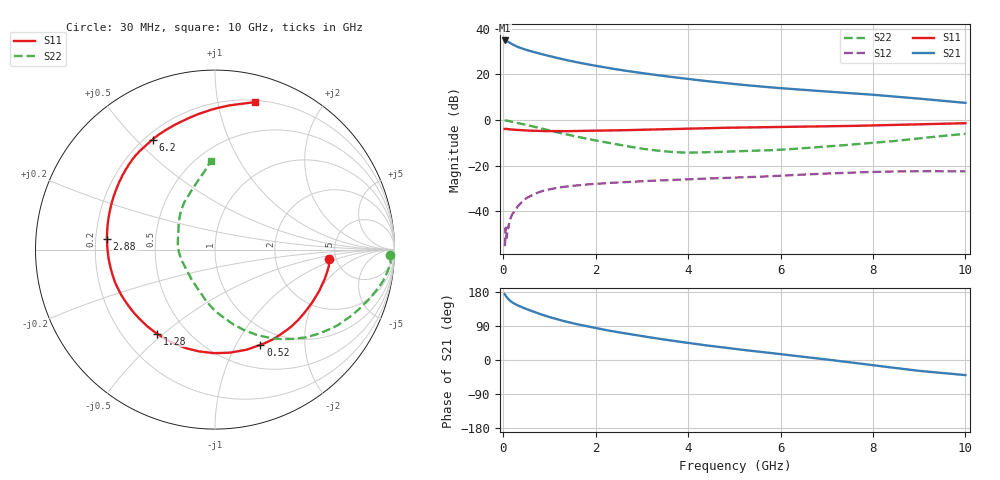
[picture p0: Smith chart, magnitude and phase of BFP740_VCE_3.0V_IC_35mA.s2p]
! Infineon Technologies  Discrete & RF Semiconductors
! BFP740
! VCE =  3.0 V,  IC =  35 mA
! Common Emitter S-Parameters:  Jan 2016
# GHz  S  MA  R  50
!  f  S11  S21  S12  S22
! GHz  MAG  ANG  MAG  ANG  MAG  ANG  MAG  ANG
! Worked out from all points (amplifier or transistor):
!   229 points, 30 MHz to 10 GHz, reference 50 ohm
!   highest |S21| = 34.9 dB at 30 MHz (marker M1)
!   |S21| within 3 dB of that: start of sweep to 335.6 MHz
!   unconditionally stable (mu >= 1): 5.71 GHz to 7.98 GHz; 8.03 GHz to 8.289 GHz; 9.138 GHz to 9.631 GHz
!   at 280 MHz: K = 0.30, MSG = 35.7 dB, |S12| = -38.9 dB
!   at 1.78 GHz: K = 0.53, MSG = 26.5 dB, |S12| = -28.4 dB
!   at 10 GHz: K = 0.99, MSG = 15.0 dB, |S12| = -22.5 dB
!   S11 on the Smith chart (normalised r, x): 30 MHz: 4.37, -0.75; 520 MHz: 0.78, -1.26; 1.28 GHz: 0.34, -0.48; 2.88 GHz: 0.25, +0.05; 6.2 GHz: 0.23, +0.56; 10 GHz: 0.22, +1.28
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0.03  0.6367 -4.6  55.77 174.0  0.0017 76.3  0.976 -1.7
0.06  0.6392 -9.3  55.2 168.4  0.0038 87.5  0.9767 -5.2
0.11  0.6294 -16.8  51.84 160.8  0.0042 91.1  0.9561 -10.1
0.15  0.6243 -22.0  48.98 156.2  0.0066 83.8  0.9338 -13.3
0.185  0.618 -26.5  46.72 153.0  0.0081 79.0  0.9158 -15.8
0.26  0.6097 -35.7  42.7 147.4  0.0104 75.1  0.8807 -20.7
0.34  0.6037 -45.0  39.31 142.7  0.0136 70.9  0.8475 -25.4
0.52  0.5878 -64.5  34.18 133.6  0.0197 62.9  0.7733 -35.3
0.7  0.5802 -81.9  30.33 125.4  0.0243 56.1  0.7025 -44.2
0.9  0.5741 -98.9  26.88 117.0  0.0286 49.7  0.6256 -52.9
1.1  0.5707 -113.3  23.93 109.7  0.0315 44.4  0.5574 -60.5
1.28  0.5686 -124.6  21.66 103.8  0.0337 40.8  0.5051 -66.5
1.7  0.5744 -145.8  17.64 91.8  0.0375 34.6  0.4084 -78.7
2.24  0.5883 -166.7  14.04 78.6  0.041 29.1  0.3209 -93.6
2.88  0.6053 174.2  11.16 65.4  0.0447 25.3  0.2461 -111.1
3.4  0.6222 161.3  9.472 55.6  0.0474 22.4  0.2103 -128.9
4.2  0.6534 144.7  7.539 41.8  0.051 18.5  0.1939 -158.9
5.1  0.6835 131.2  6.026 28.0  0.0548 15.0  0.2066 175.8
6.2  0.7045 119.5  4.829 12.8  0.0612 11.2  0.2289 153.0
6.8  0.7199 112.7  4.362 4.3  0.0653 7.6  0.2528 142.3
8.4  0.7798 91.5  3.324 -19.8  0.074 -4.1  0.3411 114.8
10  0.8506 74.9  2.377 -39.9  0.0747 -14.6  0.4964 92.7
